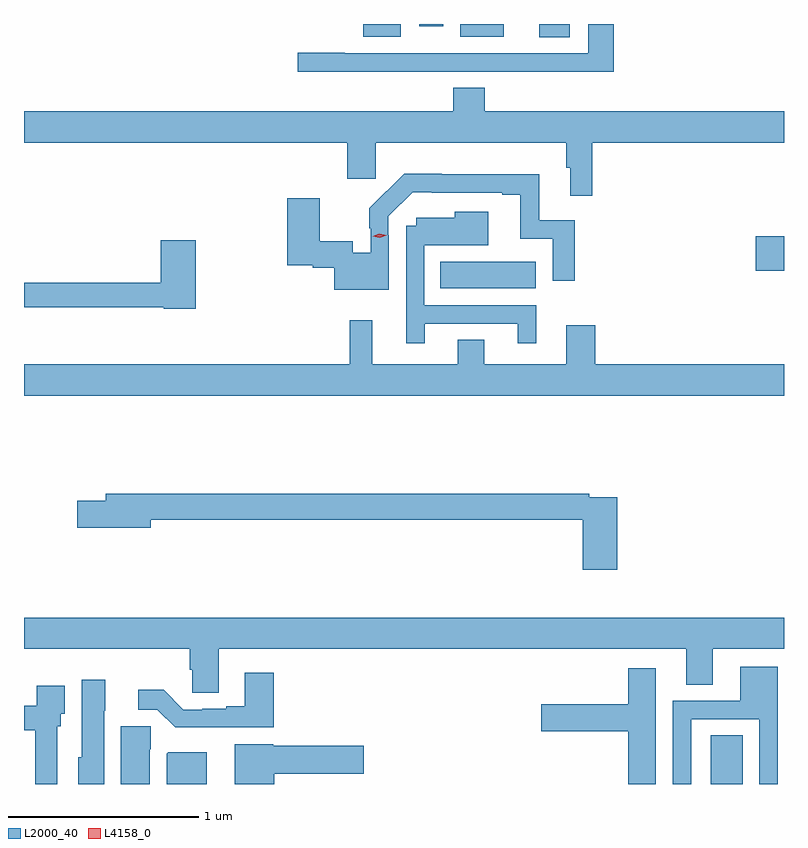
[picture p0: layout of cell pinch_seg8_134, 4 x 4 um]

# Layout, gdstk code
import gdstk
lib = gdstk.Library(unit=1e-6, precision=1e-09)
def R(c, l, rs):  # rectangles x0, y0, x1, y1
    for r in rs: c.add(gdstk.rectangle(r[:2], r[2:], *l))
def P(c, l, *ps):  # polygons
    for p in ps: c.add(gdstk.Polygon(p, *l))
L2000_40 = (2000, 40)
L4158_0 = (4158, 0)

pinch_seg8_134 = lib.new_cell('pinch_seg8_134')
R(pinch_seg8_134, L2000_40, [(846.881,1150.42,847.048,1150.676), (845.458,1153.028,845.959,1153.168), (847.116,1153.121,847.266,1153.304), (845.978,1154.35,846.139,1154.42), (845.051,1154.354,845.248,1154.42), (845.562,1154.354,845.791,1154.42), (845.345,1154.409,845.473,1154.42)])
P(pinch_seg8_134, L2000_40, [(845.441,1154.169),(845.773,1154.169),(845.773,1154.168),(846.371,1154.168),(846.371,1154.42),(846.236,1154.42),(846.236,1154.265),(844.955,1154.265),(844.955,1154.27),(844.707,1154.27),(844.707,1154.168),(845.441,1154.168)],
  [(846.257,1153.796),(847.266,1153.796),(847.266,1153.96),(845.69,1153.96),(845.69,1154.084),(845.525,1154.084),(845.525,1153.96),(843.266,1153.96),(843.266,1153.796),(844.967,1153.796),(844.967,1153.605),(845.117,1153.605),(845.117,1153.796),(846.121,1153.796),(846.121,1153.664),(846.14,1153.664),(846.14,1153.515),(846.257,1153.515)],
  [(845.187,1153.307),(845.184,1153.307),(845.184,1153.407),(845.312,1153.535),(845.413,1153.535),(845.413,1153.533),(845.783,1153.533),(845.783,1153.521),(845.879,1153.521),(845.879,1153.29),(846.048,1153.29),(846.048,1153.068),(846.164,1153.068),(846.164,1153.386),(845.977,1153.386),(845.977,1153.63),(845.465,1153.63),(845.465,1153.633),(845.266,1153.633),(845.084,1153.45),(845.084,1153.345),(845.091,1153.345),(845.091,1153.216),(844.995,1153.216),(844.995,1153.276),(844.822,1153.276),(844.822,1153.504),(844.652,1153.504),(844.652,1153.151),(844.785,1153.151),(844.785,1153.137),(844.899,1153.137),(844.899,1153.022),(845.187,1153.022)],
  [(845.374,1152.843),(845.864,1152.843),(845.864,1152.741),(845.962,1152.741),(845.962,1152.939),(845.373,1152.939),(845.373,1153.256),(845.71,1153.256),(845.71,1153.432),(845.534,1153.432),(845.534,1153.399),(845.331,1153.399),(845.331,1153.359),(845.277,1153.359),(845.277,1152.741),(845.374,1152.741)],
  [(844.169,1153.282),(843.986,1153.282),(843.986,1153.058),(843.266,1153.058),(843.266,1152.93),(844.002,1152.93),(844.002,1152.922),(844.169,1152.922)],
  [(847.266,1152.628),(846.272,1152.628),(846.272,1152.835),(846.119,1152.835),(846.119,1152.628),(845.689,1152.628),(845.689,1152.758),(845.549,1152.758),(845.549,1152.628),(845.099,1152.628),(845.099,1152.862),(844.981,1152.862),(844.981,1152.628),(843.266,1152.628),(843.266,1152.464),(847.266,1152.464)],
  [(846.389,1151.928),(846.242,1151.928),(846.242,1151.948),(843.695,1151.948),(843.695,1151.912),(843.546,1151.912),(843.546,1151.77),(843.934,1151.77),(843.934,1151.812),(846.206,1151.812),(846.206,1151.547),(846.389,1151.547)],
  [(844.291,1151.132),(846.752,1151.132),(846.752,1150.942),(846.892,1150.942),(846.892,1151.132),(847.266,1151.132),(847.266,1151.296),(843.266,1151.296),(843.266,1151.132),(844.139,1151.132),(844.139,1151.022),(844.152,1151.022),(844.152,1150.9),(844.291,1150.9)],
  [(846.777,1150.761),(847.137,1150.761),(847.137,1150.42),(847.233,1150.42),(847.233,1151.038),(847.037,1151.038),(847.037,1150.857),(846.681,1150.857),(846.681,1150.42),(846.777,1150.42)],
  [(846.592,1151.029),(846.446,1151.029),(846.446,1150.839),(845.988,1150.839),(845.988,1150.697),(846.446,1150.697),(846.446,1150.42),(846.592,1150.42)],
  [(844.58,1151.005),(844.427,1151.005),(844.427,1150.828),(844.331,1150.828),(844.331,1150.815),(844.204,1150.815),(844.204,1150.812),(844.104,1150.812),(844.002,1150.915),(843.867,1150.915),(843.867,1150.812),(843.966,1150.812),(844.061,1150.718),(844.58,1150.718)],
  [(843.688,1150.806),(843.694,1150.806),(843.694,1150.969),(843.569,1150.969),(843.569,1150.56),(843.551,1150.56),(843.551,1150.42),(843.688,1150.42)],
  [(843.441,1150.725),(843.46,1150.725),(843.46,1150.791),(843.481,1150.791),(843.481,1150.936),(843.332,1150.936),(843.332,1150.831),(843.266,1150.831),(843.266,1150.702),(843.325,1150.702),(843.325,1150.42),(843.441,1150.42)],
  [(843.928,1150.602),(843.932,1150.602),(843.932,1150.725),(843.776,1150.725),(843.776,1150.42),(843.928,1150.42)],
  [(844.582,1150.475),(845.053,1150.475),(845.053,1150.622),(844.578,1150.622),(844.578,1150.63),(844.376,1150.63),(844.376,1150.42),(844.582,1150.42)],
  [(844.228,1150.588),(844.024,1150.588),(844.016,1150.58),(844.016,1150.42),(844.228,1150.42)])
P(pinch_seg8_134, L4158_0, [(845.138,1153.296),(845.102,1153.304),(845.102,1153.304),(845.102,1153.304),(845.137,1153.316),(845.174,1153.308),(845.174,1153.308),(845.174,1153.308)])

lib.write_gds('pinch_seg8_134.gds')
